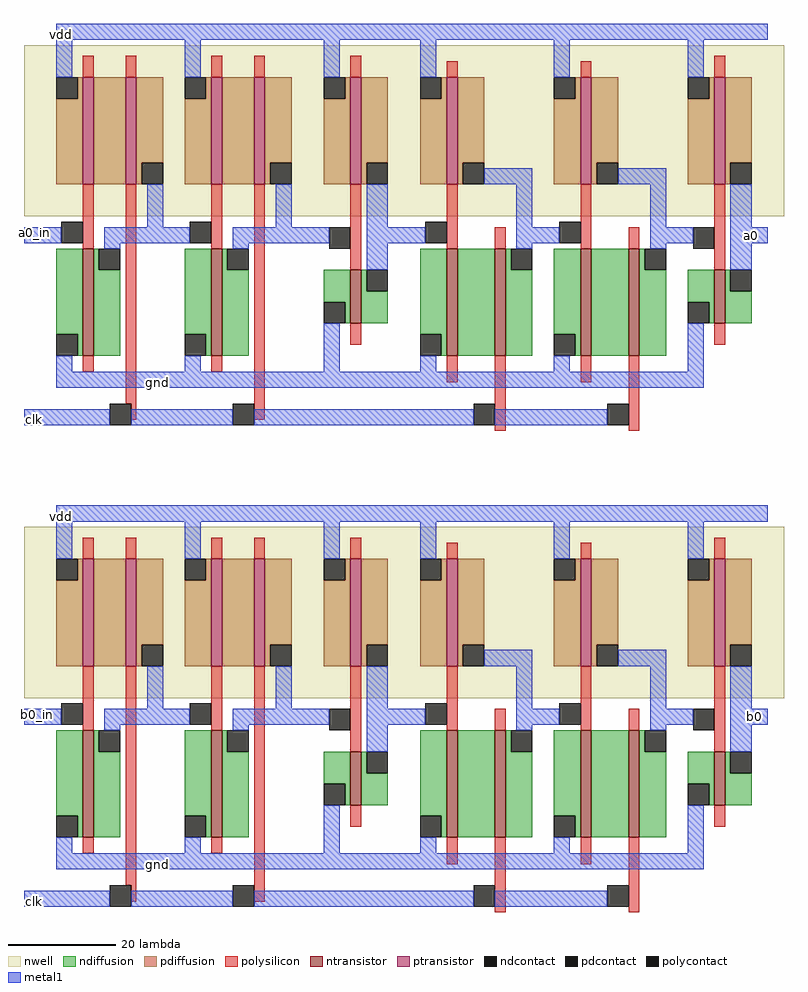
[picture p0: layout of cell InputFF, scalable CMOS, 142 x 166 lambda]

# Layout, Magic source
magic
tech scmos
<< nwell >>
rect -61 136 81 168
rect -61 46 81 78
<< ntransistor >>
rect -50 110 -48 130
rect -26 110 -24 130
rect 0 116 2 126
rect 18 110 20 130
rect 27 110 29 130
rect 43 110 45 130
rect 52 110 54 130
rect 68 116 70 126
rect -50 20 -48 40
rect -26 20 -24 40
rect 0 26 2 36
rect 18 20 20 40
rect 27 20 29 40
rect 43 20 45 40
rect 52 20 54 40
rect 68 26 70 36
<< ptransistor >>
rect -50 142 -48 162
rect -42 142 -40 162
rect -26 142 -24 162
rect -18 142 -16 162
rect 0 142 2 162
rect 18 142 20 162
rect 43 142 45 162
rect 68 142 70 162
rect -50 52 -48 72
rect -42 52 -40 72
rect -26 52 -24 72
rect -18 52 -16 72
rect 0 52 2 72
rect 18 52 20 72
rect 43 52 45 72
rect 68 52 70 72
<< ndiffusion >>
rect -55 114 -50 130
rect -51 110 -50 114
rect -48 126 -47 130
rect -48 110 -43 126
rect -31 114 -26 130
rect -27 110 -26 114
rect -24 126 -23 130
rect -24 110 -19 126
rect -5 120 0 126
rect -1 116 0 120
rect 2 122 3 126
rect 2 116 7 122
rect 13 114 18 130
rect 17 110 18 114
rect 20 110 27 130
rect 29 126 30 130
rect 29 110 34 126
rect 38 114 43 130
rect 42 110 43 114
rect 45 110 52 130
rect 54 126 55 130
rect 54 110 59 126
rect 63 120 68 126
rect 67 116 68 120
rect 70 122 71 126
rect 70 116 75 122
rect -55 24 -50 40
rect -51 20 -50 24
rect -48 36 -47 40
rect -48 20 -43 36
rect -31 24 -26 40
rect -27 20 -26 24
rect -24 36 -23 40
rect -24 20 -19 36
rect -5 30 0 36
rect -1 26 0 30
rect 2 32 3 36
rect 2 26 7 32
rect 13 24 18 40
rect 17 20 18 24
rect 20 20 27 40
rect 29 36 30 40
rect 29 20 34 36
rect 38 24 43 40
rect 42 20 43 24
rect 45 20 52 40
rect 54 36 55 40
rect 54 20 59 36
rect 63 30 68 36
rect 67 26 68 30
rect 70 32 71 36
rect 70 26 75 32
<< pdiffusion >>
rect -51 158 -50 162
rect -55 142 -50 158
rect -48 142 -42 162
rect -40 146 -35 162
rect -40 142 -39 146
rect -27 158 -26 162
rect -31 142 -26 158
rect -24 142 -18 162
rect -16 146 -11 162
rect -16 142 -15 146
rect -1 158 0 162
rect -5 142 0 158
rect 2 146 7 162
rect 2 142 3 146
rect 17 158 18 162
rect 13 142 18 158
rect 20 146 25 162
rect 20 142 21 146
rect 42 158 43 162
rect 38 142 43 158
rect 45 146 50 162
rect 45 142 46 146
rect 67 158 68 162
rect 63 142 68 158
rect 70 146 75 162
rect 70 142 71 146
rect -51 68 -50 72
rect -55 52 -50 68
rect -48 52 -42 72
rect -40 56 -35 72
rect -40 52 -39 56
rect -27 68 -26 72
rect -31 52 -26 68
rect -24 52 -18 72
rect -16 56 -11 72
rect -16 52 -15 56
rect -1 68 0 72
rect -5 52 0 68
rect 2 56 7 72
rect 2 52 3 56
rect 17 68 18 72
rect 13 52 18 68
rect 20 56 25 72
rect 20 52 21 56
rect 42 68 43 72
rect 38 52 43 68
rect 45 56 50 72
rect 45 52 46 56
rect 67 68 68 72
rect 63 52 68 68
rect 70 56 75 72
rect 70 52 71 56
<< ndcontact >>
rect -55 110 -51 114
rect -47 126 -43 130
rect -31 110 -27 114
rect -23 126 -19 130
rect -5 116 -1 120
rect 3 122 7 126
rect 13 110 17 114
rect 30 126 34 130
rect 38 110 42 114
rect 55 126 59 130
rect 63 116 67 120
rect 71 122 75 126
rect -55 20 -51 24
rect -47 36 -43 40
rect -31 20 -27 24
rect -23 36 -19 40
rect -5 26 -1 30
rect 3 32 7 36
rect 13 20 17 24
rect 30 36 34 40
rect 38 20 42 24
rect 55 36 59 40
rect 63 26 67 30
rect 71 32 75 36
<< pdcontact >>
rect -55 158 -51 162
rect -39 142 -35 146
rect -31 158 -27 162
rect -15 142 -11 146
rect -5 158 -1 162
rect 3 142 7 146
rect 13 158 17 162
rect 21 142 25 146
rect 38 158 42 162
rect 46 142 50 146
rect 63 158 67 162
rect 71 142 75 146
rect -55 68 -51 72
rect -39 52 -35 56
rect -31 68 -27 72
rect -15 52 -11 56
rect -5 68 -1 72
rect 3 52 7 56
rect 13 68 17 72
rect 21 52 25 56
rect 38 68 42 72
rect 46 52 50 56
rect 63 68 67 72
rect 71 52 75 56
<< polysilicon >>
rect -50 162 -48 166
rect -42 162 -40 166
rect -26 162 -24 166
rect -18 162 -16 166
rect 0 162 2 166
rect 18 162 20 165
rect 43 162 45 165
rect 68 162 70 166
rect -50 130 -48 142
rect -50 107 -48 110
rect -42 101 -40 142
rect -26 130 -24 142
rect -26 107 -24 110
rect -41 98 -40 101
rect -18 98 -16 142
rect 0 126 2 142
rect 18 130 20 142
rect 27 130 29 134
rect 43 130 45 142
rect 52 130 54 134
rect 0 112 2 116
rect 68 126 70 142
rect 68 112 70 116
rect 18 105 20 110
rect 27 96 29 110
rect 43 105 45 110
rect 52 96 54 110
rect -50 72 -48 76
rect -42 72 -40 76
rect -26 72 -24 76
rect -18 72 -16 76
rect 0 72 2 76
rect 18 72 20 75
rect 43 72 45 75
rect 68 72 70 76
rect -50 40 -48 52
rect -50 17 -48 20
rect -42 11 -40 52
rect -26 40 -24 52
rect -26 17 -24 20
rect -41 8 -40 11
rect -18 8 -16 52
rect 0 36 2 52
rect 18 40 20 52
rect 27 40 29 44
rect 43 40 45 52
rect 52 40 54 44
rect 0 22 2 26
rect 68 36 70 52
rect 68 22 70 26
rect 18 15 20 20
rect 27 6 29 20
rect 43 15 45 20
rect 52 6 54 20
<< polycontact >>
rect -54 131 -50 135
rect -30 131 -26 135
rect -45 97 -41 101
rect -22 97 -18 101
rect -4 130 0 134
rect 14 131 18 135
rect 39 131 43 135
rect 64 130 68 134
rect 23 97 27 101
rect 48 97 52 101
rect -54 41 -50 45
rect -30 41 -26 45
rect -45 7 -41 11
rect -22 7 -18 11
rect -4 40 0 44
rect 14 41 18 45
rect 39 41 43 45
rect 64 40 68 44
rect 23 7 27 11
rect 48 7 52 11
<< metal1 >>
rect -55 169 78 172
rect -55 162 -52 169
rect -31 162 -28 169
rect -5 162 -2 169
rect 13 162 16 169
rect 38 162 41 169
rect 63 162 66 169
rect -61 131 -54 134
rect -38 134 -35 142
rect -46 131 -30 134
rect -14 134 -11 142
rect 25 142 34 145
rect 50 142 59 145
rect 3 134 7 142
rect -22 131 -4 134
rect -46 130 -43 131
rect -22 130 -19 131
rect 3 131 14 134
rect 31 134 34 142
rect 31 131 39 134
rect 56 134 59 142
rect 71 134 75 142
rect 56 131 64 134
rect 3 126 7 131
rect 31 130 34 131
rect 56 130 59 131
rect 71 131 78 134
rect 71 126 75 131
rect -55 107 -52 110
rect -31 107 -28 110
rect -5 107 -2 116
rect 13 107 16 110
rect 38 107 41 110
rect 63 107 66 116
rect -55 104 66 107
rect -61 97 -45 100
rect -41 97 -22 100
rect -18 97 23 100
rect 27 97 48 100
rect -55 79 78 82
rect -55 72 -52 79
rect -31 72 -28 79
rect -5 72 -2 79
rect 13 72 16 79
rect 38 72 41 79
rect 63 72 66 79
rect -61 41 -54 44
rect -38 44 -35 52
rect -46 41 -30 44
rect -14 44 -11 52
rect 25 52 34 55
rect 50 52 59 55
rect 3 44 7 52
rect -22 41 -4 44
rect -46 40 -43 41
rect -22 40 -19 41
rect 3 41 14 44
rect 31 44 34 52
rect 31 41 39 44
rect 56 44 59 52
rect 71 44 75 52
rect 56 41 64 44
rect 3 36 7 41
rect 31 40 34 41
rect 56 40 59 41
rect 71 41 78 44
rect 71 36 75 41
rect -55 17 -52 20
rect -31 17 -28 20
rect -5 17 -2 26
rect 13 17 16 20
rect 38 17 41 20
rect 63 17 66 26
rect -55 14 66 17
rect -61 7 -45 10
rect -41 7 -22 10
rect -18 7 23 10
rect 27 7 48 10
<< labels >>
rlabel metal1 -54 170 -54 170 5 vdd
rlabel metal1 -59 98 -59 98 1 clk
rlabel metal1 -36 105 -36 105 1 gnd
rlabel metal1 -54 80 -54 80 5 vdd
rlabel metal1 -59 8 -59 8 1 clk
rlabel metal1 -36 15 -36 15 1 gnd
rlabel metal1 -60 132 -58 134 3 a0_in
rlabel metal1 73 131 77 134 1 a0
rlabel metal1 -61 42 -56 44 3 b0_in
rlabel metal1 74 41 77 44 1 b0
<< end >>
